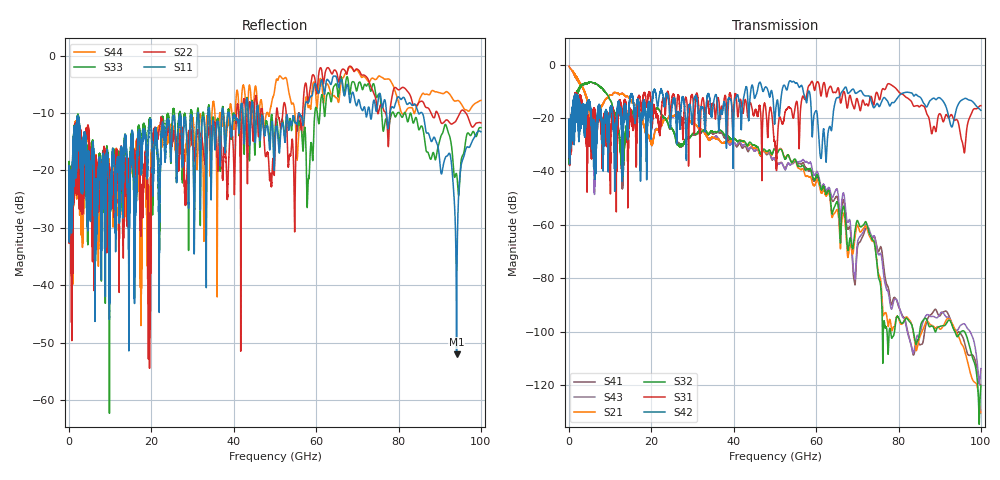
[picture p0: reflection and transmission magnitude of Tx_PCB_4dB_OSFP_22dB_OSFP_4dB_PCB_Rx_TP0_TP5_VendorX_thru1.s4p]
! Info: Touchstone file created by Circ.  Input file=Tx_PCB_4dB_OSFP_22dB_OSFP_4dB_PCB_Rx_TP0_TP5_VendorX.circ
# Hz S RI R 50
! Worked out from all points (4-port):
!   10000 points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, 10 MHz to 100 GHz, reference 50 ohm
!   strongest paths, dB at 10 MHz, 25.01 GHz, 50.01 GHz, 75.01 GHz, 100 GHz:
!     S42: -24.1, -16.0, -20.7, -14.9, -17.2
!     S31: -24.1, -12.5, -29.1, -11.4, -15.4
!     S32: -36.6, -24.0, -31.6, -78.4, -120.4
!     S21: -0.6, -19.2, -31.6, -77.4, -130.4
!     S43: -0.6, -19.6, -35.5, -70.7, -113.9
!     S41: -36.6, -24.1, -35.6, -69.7, -120.0
!   lowest |S11| = -52.0 dB at 94.09 GHz (marker M1), VSWR 1.01, Z = 49.7 - j0.00577 ohm
!   |S11| at or under -10 dB: start of sweep to 31.25 GHz; 46.01 GHz to 55.82 GHz (9.81 GHz wide, 19.3 % of centre); 85.76 GHz to end of sweep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
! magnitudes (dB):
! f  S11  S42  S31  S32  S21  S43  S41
! 10 MHz  -21.3  -24.1  -24.1  -36.6  -0.6  -0.6  -36.6
! 5.82 GHz  -15.3  -31.6  -19.1  -6.8  -27.4  -29.7  -6.9
! 12.91 GHz  -21.2  -28.9  -21.4  -39.6  -10.8  -10.8  -42.5
! 18.99 GHz  -21.4  -23.3  -15.1  -14.7  -26.5  -26.9  -14.6
! 64.52 GHz  -3.6  -14.7  -10.4  -53.1  -55.6  -47.7  -50.2
! 94.09 GHz  -52.0  -16.5  -20.6  -101.6  -100.4  -99.5  -100.5
! 100 GHz  -13.3  -17.2  -15.4  -120.4  -130.4  -113.9  -120.0
